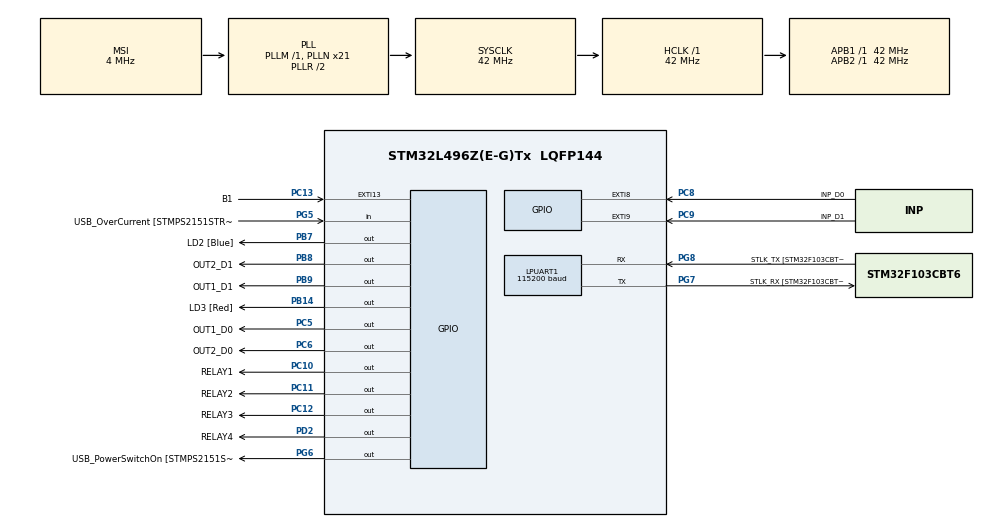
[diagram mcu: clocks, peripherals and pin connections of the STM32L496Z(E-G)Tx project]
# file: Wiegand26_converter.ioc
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Dma.LPUART_TX.0.Direction=DMA_MEMORY_TO_PERIPH
Dma.LPUART_TX.0.Instance=DMA2_Channel6
Dma.LPUART_TX.0.MemDataAlignment=DMA_MDATAALIGN_BYTE
Dma.LPUART_TX.0.MemInc=DMA_MINC_ENABLE
Dma.LPUART_TX.0.Mode=DMA_NORMAL
Dma.LPUART_TX.0.PeriphDataAlignment=DMA_PDATAALIGN_BYTE
Dma.LPUART_TX.0.PeriphInc=DMA_PINC_DISABLE
Dma.LPUART_TX.0.Priority=DMA_PRIORITY_LOW
Dma.Request0=LPUART_TX
IWDG.Prescaler=IWDG_PRESCALER_32
IWDG.Reload=1000
IWDG.Window=1000
LPUART1.BaudRate=115200
LPUART1.WordLength=UART_WORDLENGTH_8B
Mcu.Family=STM32L4
Mcu.Name=STM32L496Z(E-G)Tx
Mcu.Package=LQFP144
NVIC.DMA2_Channel6_IRQn=true\:3\:0\:true\:false\:true\:false\:true\:true
NVIC.EXTI9_5_IRQn=true\:2\:0\:true\:false\:true\:true\:true\:true
NVIC.LPUART1_IRQn=true\:3\:1\:true\:false\:true\:true\:true\:true
NVIC.PriorityGroup=NVIC_PRIORITYGROUP_2
PA10.GPIO_Label=USB_ID
PA10.Signal=USB_OTG_FS_ID
PA11.GPIO_Label=USB_DM
PA11.Signal=USB_OTG_FS_DM
PA12.GPIO_Label=USB_DP
PA12.Signal=USB_OTG_FS_DP
PA13\ (JTMS/SWDIO).GPIO_Label=TMS
PA13\ (JTMS/SWDIO).Mode=Trace_Asynchronous_SW
PA13\ (JTMS/SWDIO).Signal=SYS_JTMS-SWDIO
PA14\ (JTCK/SWCLK).GPIO_Label=TCK
PA14\ (JTCK/SWCLK).Mode=Trace_Asynchronous_SW
PA14\ (JTCK/SWCLK).Signal=SYS_JTCK-SWCLK
PA8.GPIO_Label=USB_SOF [TP1]
PA8.Signal=USB_OTG_FS_SOF
PA9.GPIO_Label=USB_VBUS
PA9.Signal=USB_OTG_FS_VBUS
PB14.GPIO_Label=LD3 [Red]
PB14.Signal=GPIO_Output
PB3\ (JTDO/TRACESWO).GPIO_Label=SWO
PB3\ (JTDO/TRACESWO).Mode=Trace_Asynchronous_SW
PB3\ (JTDO/TRACESWO).Signal=SYS_JTDO-SWO
PB7.GPIO_Label=LD2 [Blue]
PB7.Signal=GPIO_Output
PB8.GPIO_Label=OUT2_D1
PB8.GPIO_Speed=GPIO_SPEED_FREQ_MEDIUM
PB8.PinState=GPIO_PIN_SET
PB8.Signal=GPIO_Output
PB9.GPIO_Label=OUT1_D1
PB9.GPIO_Speed=GPIO_SPEED_FREQ_MEDIUM
PB9.PinState=GPIO_PIN_SET
PB9.Signal=GPIO_Output
PC10.GPIO_Label=RELAY1
PC10.GPIO_PuPd=GPIO_NOPULL
PC10.Signal=GPIO_Output
PC11.GPIO_Label=RELAY2
PC11.Signal=GPIO_Output
PC12.GPIO_Label=RELAY3
PC12.Signal=GPIO_Output
PC13.GPIO_Label=B1
PC13.Signal=GPXTI13
PC14-OSC32_IN\ (PC14).Mode=LSE-External-Oscillator
PC14-OSC32_IN\ (PC14).Signal=RCC_OSC32_IN
PC15-OSC32_OUT\ (PC15).Mode=LSE-External-Oscillator
PC15-OSC32_OUT\ (PC15).Signal=RCC_OSC32_OUT
PC5.GPIO_Label=OUT1_D0
PC5.GPIO_Speed=GPIO_SPEED_FREQ_MEDIUM
PC5.PinState=GPIO_PIN_SET
PC5.Signal=GPIO_Output
PC6.GPIO_Label=OUT2_D0
PC6.GPIO_Speed=GPIO_SPEED_FREQ_MEDIUM
PC6.PinState=GPIO_PIN_SET
PC6.Signal=GPIO_Output
PC8.GPIO_Label=INP_D0
PC8.GPIO_ModeDefaultEXTI=GPIO_MODE_IT_FALLING
PC8.Signal=GPXTI8
PC9.GPIO_Label=INP_D1
PC9.GPIO_ModeDefaultEXTI=GPIO_MODE_IT_FALLING
PC9.Signal=GPXTI9
PD2.GPIO_Label=RELAY4
PD2.Signal=GPIO_Output
PG5.GPIO_Label=USB_OverCurrent [STMPS2151STR_FAULT]
PG5.Signal=GPIO_Input
PG6.GPIO_Label=USB_PowerSwitchOn [STMPS2151STR_EN]
PG6.Signal=GPIO_Output
PG7.GPIO_Label=STLK_RX [STM32F103CBT6_PA3]
PG7.Mode=Asynchronous
PG7.Signal=LPUART1_TX
PG8.GPIO_Label=STLK_TX [STM32F103CBT6_PA2]
PG8.Mode=Asynchronous
PG8.Signal=LPUART1_RX
PH1-OSC_OUT\ (PH1).Signal=RCC_OSC_OUT
ProjectManager.HeapSize=0x200
ProjectManager.StackSize=0x400
ProjectManager.TargetToolchain=STM32CubeIDE
RCC.48MHZClocksFreq_Value=24000000
RCC.ADCFreq_Value=48000000
RCC.AHBFreq_Value=42000000
RCC.APB1Freq_Value=42000000
RCC.APB1TimFreq_Value=42000000
RCC.APB2Freq_Value=42000000
RCC.APB2TimFreq_Value=42000000
RCC.CortexFreq_Value=42000000
RCC.HCLKFreq_Value=42000000
RCC.HSE_VALUE=8000000
RCC.HSI48_VALUE=48000000
RCC.HSI_VALUE=16000000
RCC.MSI_VALUE=4000000
RCC.PLLMUL=RCC_PLL_MUL9
RCC.PLLN=21
RCC.PLLSAI1N=24
RCC.PRESCALERUSB=RCC_USBCLKSOURCE_PLL_DIV1_5
RCC.SYSCLKFreq_VALUE=42000000
RCC.SYSCLKSource=RCC_SYSCLKSOURCE_PLLCLK
RCC.SYSCLKSourceVirtual=RCC_SYSCLKSOURCE_PLLCLK
RCC.USBFreq_Value=48000000
RCC.VCOOutputFreq_Value=84000000
TIM1.Prescaler=41
VP_IWDG_VS_IWDG.Mode=IWDG_Activate
VP_TIM1_VS_ClockSourceINT.Mode=Internal
board=NUCLEO-L496ZG

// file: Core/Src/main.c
/* USER CODE BEGIN Header */

// Copyright (c) 2022.
// Permission is hereby granted, free of charge, to any person obtaining a copy of this software and
// associated documentation files (the “Software”), to deal in the Software without restriction, including
//  without limitation the rights to use, copy, modify, merge, publish, distribute, sublicense, and/or sell copies
//   of the Software, and to permit persons to whom the Software is furnished to do so, subject to the
//   following conditions:
//
// The above copyright notice and this permission notice shall be included in all copies or substantial
// portions of the Software.
//
// THE SOFTWARE IS PROVIDED “AS IS”, WITHOUT WARRANTY OF ANY KIND, EXPRESS OR IMPLIED,
// INCLUDING BUT NOT LIMITED TO THE WARRANTIES OF MERCHANTABILITY, FITNESS FOR A PARTICULAR
// PURPOSE AND NONINFRINGEMENT. IN NO EVENT SHALL THE AUTHORS OR COPYRIGHT HOLDERS BE
// LIABLE FOR ANY CLAIM, DAMAGES OR OTHER LIABILITY, WHETHER IN AN ACTION OF CONTRACT, TORT
//  OR OTHERWISE, ARISING FROM, OUT OF OR IN CONNECTION WITH THE SOFTWARE OR THE USE OR
//  OTHER DEALINGS IN THE SOFTWARE.

/* USER CODE END Header */
#include "main.h"
#include "dma.h"
#include "iwdg.h"
#include "usart.h"
#include "tim.h"
#include "gpio.h"

/* USER CODE BEGIN Includes */
#include "../Inc/wiegand26_lib.h"
#include "../Inc/uart_utils.h"
#include "string.h"
#include "stdio.h"
/* USER CODE END Includes */

/* USER CODE BEGIN PV */
uint32_t cardID;
char uart_tx_buffer[128] = {0,};
GPIO_TypeDef* relay_ports[4] = {RELAY1_GPIO_Port, RELAY2_GPIO_Port,
                                RELAY3_GPIO_Port, RELAY4_GPIO_Port,
};
int16_t relay_pins[4] = {RELAY1_Pin, RELAY2_Pin,
                         RELAY3_Pin, RELAY4_Pin,
};
/* USER CODE END PV */

void SystemClock_Config(void);

int main(void)
{

    /* MCU Configuration--------------------------------------------------------*/

    /* Reset of all peripherals, Initializes the Flash interface and the Systick. */
    HAL_Init();

    /* Configure the system clock */
    SystemClock_Config();

    /* Initialize all configured peripherals */
    MX_GPIO_Init();
    MX_DMA_Init();
    MX_LPUART1_UART_Init();
    MX_TIM1_Init();
    MX_IWDG_Init();
    /* USER CODE BEGIN 2 */
    parser_init();
    rx_start();

    WiegandPins wiegand_pins_config;

    wiegand_pins_config.out_pin_D0 = OUT2_D0_Pin;
    wiegand_pins_config.out_port_D0 = OUT2_D0_GPIO_Port;
    wiegand_pins_config.out_pin_D1 = OUT2_D1_Pin;
    wiegand_pins_config.out_port_D1 = OUT2_D1_GPIO_Port;
    wiegand_pins_config.in_pin_D0 = INP_D0_Pin;
    wiegand_pins_config.in_port_D0 = INP_D0_GPIO_Port;
    wiegand_pins_config.in_pin_D1 = INP_D1_Pin;
    wiegand_pins_config.in_port_D1 = INP_D1_GPIO_Port;
    wiegand_pins_config.us_timer = &htim1;
    wiegand26_init(&wiegand_pins_config);
    HAL_TIM_Base_Start(&htim1);
    HAL_IWDG_Refresh(&hiwdg);
    /* USER CODE END 2 */

    /* Infinite loop */
    /* USER CODE BEGIN WHILE */

    while (1)
    {
        HAL_IWDG_Refresh(&hiwdg);
        if(check_available_wiegand_code()) {
            wiegand26_interrupt_enable = 0;
            cardID = wiegand_get_code();
            wiegand26_interrupt_enable = 1;
            sprintf(uart_tx_buffer, "card=%lu\n", cardID);
            uart_try_transmit((uint8_t*)uart_tx_buffer, strlen(uart_tx_buffer));
            wiegand26_write(cardID);
        }
        if(rx_ready > 0) {
            switch(command.command) {
                case(SEND_WIEGAND):
                    wiegand26_write(command.cardID);
                    break;
                case(RELAY_ON):
                    if (command.channel < 4) {
                        HAL_GPIO_WritePin(relay_ports[command.channel], relay_pins[command.channel], GPIO_PIN_SET);
                        HAL_Delay(100);
                        HAL_GPIO_WritePin(relay_ports[command.channel], relay_pins[command.channel], GPIO_PIN_RESET);
                    }
                    break;
                case(RELAY_OFF):
                    if (command.channel < 4) {
                        HAL_GPIO_WritePin(relay_ports[command.channel], relay_pins[command.channel], GPIO_PIN_RESET);
                    }
                    break;
                default:
                    break;
            }
            rx_ready = 0;
        }
        HAL_Delay(10);
        /* USER CODE END WHILE */

    }
}

void SystemClock_Config(void)
{
    RCC_OscInitTypeDef RCC_OscInitStruct = {0};
    RCC_ClkInitTypeDef RCC_ClkInitStruct = {0};

    /** Configure the main internal regulator output voltage
    */
    if (HAL_PWREx_ControlVoltageScaling(PWR_REGULATOR_VOLTAGE_SCALE1) != HAL_OK)
    {
        Error_Handler();
    }

    /** Initializes the RCC Oscillators according to the specified parameters
    * in the RCC_OscInitTypeDef structure.
    */
    RCC_OscInitStruct.OscillatorType = RCC_OSCILLATORTYPE_LSI|RCC_OSCILLATORTYPE_MSI;
    RCC_OscInitStruct.LSIState = RCC_LSI_ON;
    RCC_OscInitStruct.MSIState = RCC_MSI_ON;
    RCC_OscInitStruct.MSICalibrationValue = 0;
    RCC_OscInitStruct.MSIClockRange = RCC_MSIRANGE_6;
    RCC_OscInitStruct.PLL.PLLState = RCC_PLL_ON;
    RCC_OscInitStruct.PLL.PLLSource = RCC_PLLSOURCE_MSI;
    RCC_OscInitStruct.PLL.PLLM = 1;
    RCC_OscInitStruct.PLL.PLLN = 21;
    RCC_OscInitStruct.PLL.PLLP = RCC_PLLP_DIV2;
    RCC_OscInitStruct.PLL.PLLQ = RCC_PLLQ_DIV2;
    RCC_OscInitStruct.PLL.PLLR = RCC_PLLR_DIV2;
    if (HAL_RCC_OscConfig(&RCC_OscInitStruct) != HAL_OK)
    {
        Error_Handler();
    }

    /** Initializes the CPU, AHB and APB buses clocks
    */
    RCC_ClkInitStruct.ClockType = RCC_CLOCKTYPE_HCLK|RCC_CLOCKTYPE_SYSCLK
                                  |RCC_CLOCKTYPE_PCLK1|RCC_CLOCKTYPE_PCLK2;
    RCC_ClkInitStruct.SYSCLKSource = RCC_SYSCLKSOURCE_PLLCLK;
    RCC_ClkInitStruct.AHBCLKDivider = RCC_SYSCLK_DIV1;
    RCC_ClkInitStruct.APB1CLKDivider = RCC_HCLK_DIV1;
    RCC_ClkInitStruct.APB2CLKDivider = RCC_HCLK_DIV1;

    if (HAL_RCC_ClockConfig(&RCC_ClkInitStruct, FLASH_LATENCY_2) != HAL_OK)
    {
        Error_Handler();
    }
}

void Error_Handler(void)
{
    __disable_irq();
    while (1)
    {
    }
}
